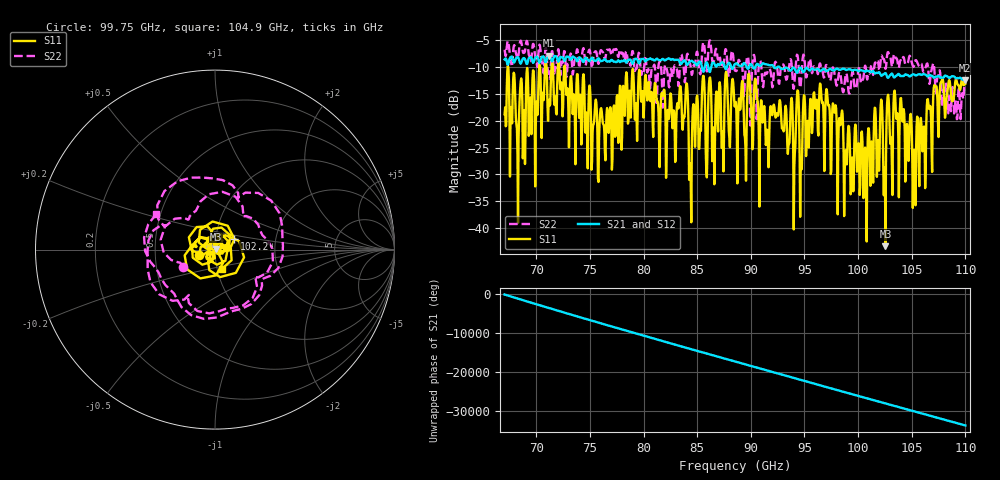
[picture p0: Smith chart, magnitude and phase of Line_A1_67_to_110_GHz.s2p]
#  HZ  S  MA  R  50.00
! Rohde & Schwarz ZVA67 4Ports - Version 4.11 - 1305.7002k04 SN: 101051
! Date: 2023-09-13 17:20:14
! Measurements: S11 S21 S12 S22
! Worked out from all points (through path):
!   860 points, 67.05 GHz to 110 GHz, reference 50 ohm
!   highest |S21| = -7.89 dB at 71.2 GHz (marker M1); lowest = -12.5 dB at 110 GHz (marker M2)
!   lowest |S11| = -43.3 dB at 102.5 GHz (marker M3), VSWR 1.01, Z = 50.5 + j0.41 ohm
!   |S11| at or under -10 dB: 67.38 GHz to 70.28 GHz (2.904 GHz wide, 4.22 % of centre); 71.54 GHz to 72.02 GHz (478.7 MHz wide, 0.667 % of centre); 72.66 GHz to end of sweep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
!   |S22| runs from -20.9 to -5.1 dB; largest |S21 - S12| = 0.041
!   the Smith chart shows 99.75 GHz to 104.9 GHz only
!   S11 on the Smith chart (normalised r, x): 99.75 GHz: 0.84, -0.05; 102.2 GHz: 1.23, +0.15; 104.9 GHz: 1.05, -0.23
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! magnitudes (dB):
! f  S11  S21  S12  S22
! 67.05 GHz  -18.8  -8.6  -8.6  -6.8
! 71.2 GHz  -16.1  -7.9  -7.9  -11.3
! 74.25 GHz  -22.8  -8.6  -8.6  -7.9
! 81.4 GHz  -18.8  -8.7  -8.7  -9.7
! 83.95 GHz  -14.0  -9.2  -9.2  -10.1
! 84.4 GHz  -31.3  -8.9  -8.9  -10.0
! 85.55 GHz  -11.7  -10.9  -10.9  -5.5
! 86.5 GHz  -21.2  -9.2  -9.2  -9.2
! 86.95 GHz  -22.0  -9.5  -9.4  -8.7
! 88.55 GHz  -16.8  -9.4  -9.4  -10.7
! 90.5 GHz  -13.7  -9.6  -9.6  -15.0
! 94.05 GHz  -28.8  -10.2  -10.2  -13.3
! 94.3 GHz  -15.4  -11.1  -11.1  -7.7
! 94.7 GHz  -28.2  -10.3  -10.3  -12.1
! 95.7 GHz  -22.3  -10.3  -10.3  -11.2
! 99.75 GHz  -20.7  -10.6  -10.5  -14.0
! 102.2 GHz  -18.2  -11.6  -11.6  -8.1
! 102.5 GHz  -43.3  -11.2  -11.2  -10.4
! 102.8 GHz  -16.2  -11.9  -11.9  -7.5
! 104.9 GHz  -18.7  -11.7  -11.7  -8.4
! 110 GHz  -12.9  -12.5  -12.4  -12.6
! 110 GHz  -13.1  -12.5  -12.4  -13.1
